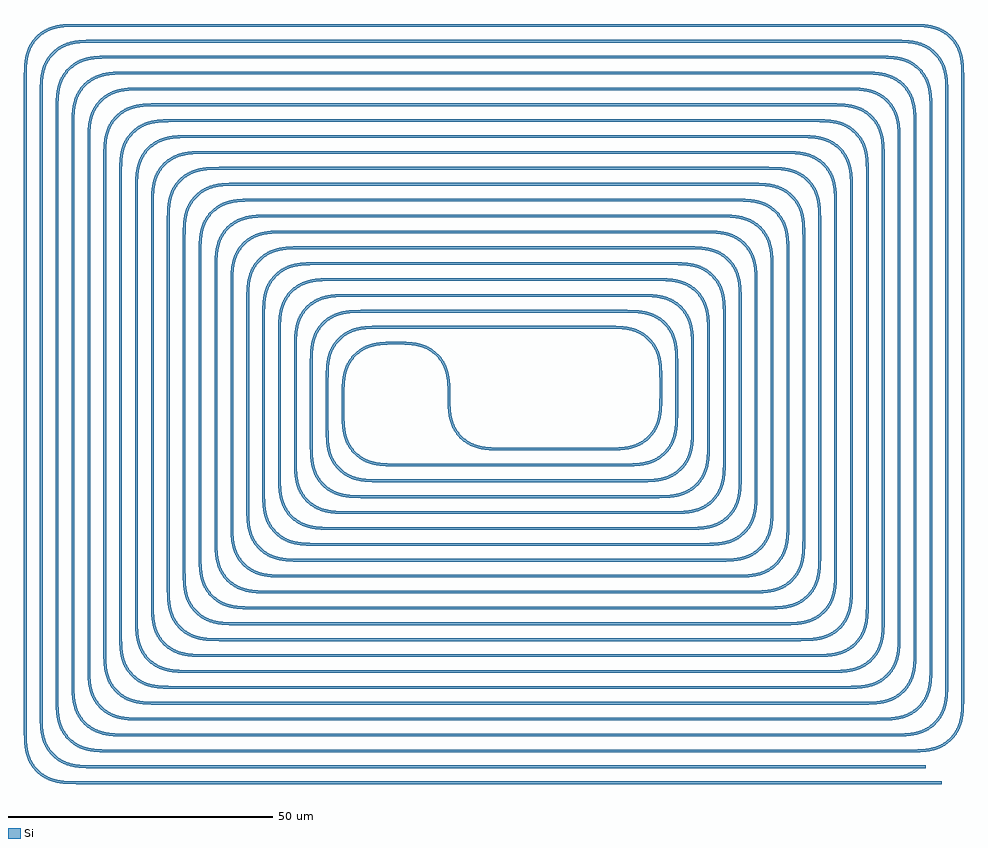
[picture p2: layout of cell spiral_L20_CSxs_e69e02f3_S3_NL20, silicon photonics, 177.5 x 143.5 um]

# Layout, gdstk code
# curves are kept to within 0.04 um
from math import pi, radians
import gdstk
lib = gdstk.Library(unit=1e-6, precision=1e-09)
def R(c, l, rs):  # rectangles x0, y0, x1, y1
    for r in rs: c.add(gdstk.rectangle(r[:2], r[2:], *l))
def P(c, l, *ps):  # polygons
    for p in ps: c.add(gdstk.Polygon(p, *l))
Si = (1, 0)

bend_euler_gdsfactorypc_ = lib.new_cell('bend_euler_gdsfactorypc_05052b0b')
P(bend_euler_gdsfactorypc_, Si, [(0,-0.25),(0,0.25),(1.655,0.269),(2.881,0.353),(3.952,0.52),(4.99,0.806),(5.731,1.113),(6.431,1.505),(7.575,2.425),(8.495,3.569),(8.887,4.269),(9.194,5.01),(9.48,6.048),(9.647,7.119),(9.731,8.345),(9.75,10),(10.25,10),(10.158,7.205),(10.023,6.224),(9.797,5.254),(9.457,4.312),(9.066,3.545),(8.5,2.715),(7.928,2.072),(7.285,1.5),(6.455,0.934),(5.688,0.543),(4.746,0.203),(3.776,-0.023),(2.795,-0.158)])

straight_gdsfactorypcom_ = lib.new_cell('straight_gdsfactorypcom_7742a60c')
R(straight_gdsfactorypcom_, Si, [(0,-0.25,49,0.25)])

c_straight_gdsfactorypcom_ = lib.new_cell('straight_gdsfactorypcom_810dd3e0')
R(c_straight_gdsfactorypcom_, Si, [(0,-0.25,3,0.25)])

c_straight_gdsfactorypcom__ = lib.new_cell('straight_gdsfactorypcom_ff565a06')
R(c_straight_gdsfactorypcom__, Si, [(0,-0.25,81,0.25)])

c_straight_gdsfactorypcom___ = lib.new_cell('straight_gdsfactorypcom_f2d06f42')
R(c_straight_gdsfactorypcom___, Si, [(0,-0.25,9,0.25)])

c_straight_gdsfactorypcom____ = lib.new_cell('straight_gdsfactorypcom_8e6efa9e')
R(c_straight_gdsfactorypcom____, Si, [(0,-0.25,103,0.25)])

c_straight_gdsfactorypcom_____ = lib.new_cell('straight_gdsfactorypcom_e7a7edb3')
R(c_straight_gdsfactorypcom_____, Si, [(0,-0.25,43,0.25)])

c_straight_gdsfactorypcom______ = lib.new_cell('straight_gdsfactorypcom_12cde3fc')
R(c_straight_gdsfactorypcom______, Si, [(0,-0.25,15,0.25)])

c_straight_gdsfactorypcom_______ = lib.new_cell('straight_gdsfactorypcom_5de53310')
R(c_straight_gdsfactorypcom_______, Si, [(0,-0.25,121,0.25)])

c_straight_gdsfactorypcom________ = lib.new_cell('straight_gdsfactorypcom_675b48e5')
R(c_straight_gdsfactorypcom________, Si, [(0,-0.25,55,0.25)])

c_straight_gdsfactorypcom_________ = lib.new_cell('straight_gdsfactorypcom_25d51cbc')
R(c_straight_gdsfactorypcom_________, Si, [(0,-0.25,87,0.25)])

c_straight_gdsfactorypcom__________ = lib.new_cell('straight_gdsfactorypcom_ed1046bc')
R(c_straight_gdsfactorypcom__________, Si, [(0,-0.25,21,0.25)])

c_straight_gdsfactorypcom___________ = lib.new_cell('straight_gdsfactorypcom_e6c4207f')
R(c_straight_gdsfactorypcom___________, Si, [(0,-0.25,127,0.25)])

c_straight_gdsfactorypcom____________ = lib.new_cell('straight_gdsfactorypcom_468df3bd')
R(c_straight_gdsfactorypcom____________, Si, [(0,-0.25,61,0.25)])

c_straight_gdsfactorypcom_____________ = lib.new_cell('straight_gdsfactorypcom_8b22fe13')
R(c_straight_gdsfactorypcom_____________, Si, [(0,-0.25,93,0.25)])

c_straight_gdsfactorypcom______________ = lib.new_cell('straight_gdsfactorypcom_cbe15374')
R(c_straight_gdsfactorypcom______________, Si, [(0,-0.25,27,0.25)])

c_straight_gdsfactorypcom_______________ = lib.new_cell('straight_gdsfactorypcom_1436a6a2')
R(c_straight_gdsfactorypcom_______________, Si, [(0,-0.25,69,0.25)])

c_straight_gdsfactorypcom________________ = lib.new_cell('straight_gdsfactorypcom_10ad8e4b')
R(c_straight_gdsfactorypcom________________, Si, [(0,-0.25,67,0.25)])

c_straight_gdsfactorypcom_________________ = lib.new_cell('straight_gdsfactorypcom_5092afc9')
R(c_straight_gdsfactorypcom_________________, Si, [(0,-0.25,33,0.25)])

c_straight_gdsfactorypcom__________________ = lib.new_cell('straight_gdsfactorypcom_41974ffe')
R(c_straight_gdsfactorypcom__________________, Si, [(0,-0.25,73,0.25)])

c_straight_gdsfactorypcom___________________ = lib.new_cell('straight_gdsfactorypcom_0e890049')
R(c_straight_gdsfactorypcom___________________, Si, [(0,-0.25,57,0.25)])

c_straight_gdsfactorypcom____________________ = lib.new_cell('straight_gdsfactorypcom_b7f60710')
R(c_straight_gdsfactorypcom____________________, Si, [(0,-0.25,39,0.25)])

c_straight_gdsfactorypcom_____________________ = lib.new_cell('straight_gdsfactorypcom_4967e9d2')
R(c_straight_gdsfactorypcom_____________________, Si, [(0,-0.25,85,0.25)])

c_straight_gdsfactorypcom______________________ = lib.new_cell('straight_gdsfactorypcom_299aea8f')
R(c_straight_gdsfactorypcom______________________, Si, [(0,-0.25,45,0.25)])

c_straight_gdsfactorypcom_______________________ = lib.new_cell('straight_gdsfactorypcom_4ed40b5f')
R(c_straight_gdsfactorypcom_______________________, Si, [(0,-0.25,79,0.25)])

c_straight_gdsfactorypcom________________________ = lib.new_cell('straight_gdsfactorypcom_9c40e646')
R(c_straight_gdsfactorypcom________________________, Si, [(0,-0.25,75,0.25)])

c_straight_gdsfactorypcom_________________________ = lib.new_cell('straight_gdsfactorypcom_aed9c2f7')
R(c_straight_gdsfactorypcom_________________________, Si, [(0,-0.25,51,0.25)])

c_straight_gdsfactorypcom__________________________ = lib.new_cell('straight_gdsfactorypcom_e5e9830e')
R(c_straight_gdsfactorypcom__________________________, Si, [(0,-0.25,91,0.25)])

c_straight_gdsfactorypcom___________________________ = lib.new_cell('straight_gdsfactorypcom_aff026a9')
R(c_straight_gdsfactorypcom___________________________, Si, [(0,-0.25,109,0.25)])

c_straight_gdsfactorypcom____________________________ = lib.new_cell('straight_gdsfactorypcom_99c8c19b')
R(c_straight_gdsfactorypcom____________________________, Si, [(0,-0.25,97,0.25)])

c_straight_gdsfactorypcom_____________________________ = lib.new_cell('straight_gdsfactorypcom_596e11af')
R(c_straight_gdsfactorypcom_____________________________, Si, [(0,-0.25,115,0.25)])

c_straight_gdsfactorypcom______________________________ = lib.new_cell('straight_gdsfactorypcom_31079ab4')
R(c_straight_gdsfactorypcom______________________________, Si, [(0,-0.25,63,0.25)])

c_straight_gdsfactorypcom_______________________________ = lib.new_cell('straight_gdsfactorypcom_eef064f1')
R(c_straight_gdsfactorypcom_______________________________, Si, [(0,-0.25,117,0.25)])

c_straight_gdsfactorypcom________________________________ = lib.new_cell('straight_gdsfactorypcom_58a328d0')
R(c_straight_gdsfactorypcom________________________________, Si, [(0,-0.25,133,0.25)])

c_straight_gdsfactorypcom_________________________________ = lib.new_cell('straight_gdsfactorypcom_43c6ed80')
R(c_straight_gdsfactorypcom_________________________________, Si, [(0,-0.25,99,0.25)])

c_straight_gdsfactorypcom__________________________________ = lib.new_cell('straight_gdsfactorypcom_0110c8b2')
R(c_straight_gdsfactorypcom__________________________________, Si, [(0,-0.25,139,0.25)])

c_straight_gdsfactorypcom___________________________________ = lib.new_cell('straight_gdsfactorypcom_123c1e2d')
R(c_straight_gdsfactorypcom___________________________________, Si, [(0,-0.25,105,0.25)])

c_straight_gdsfactorypcom____________________________________ = lib.new_cell('straight_gdsfactorypcom_24b46a04')
R(c_straight_gdsfactorypcom____________________________________, Si, [(0,-0.25,145,0.25)])

c_straight_gdsfactorypcom_____________________________________ = lib.new_cell('straight_gdsfactorypcom_7fd48e5d')
R(c_straight_gdsfactorypcom_____________________________________, Si, [(0,-0.25,111,0.25)])

c_straight_gdsfactorypcom______________________________________ = lib.new_cell('straight_gdsfactorypcom_adcbddb2')
R(c_straight_gdsfactorypcom______________________________________, Si, [(0,-0.25,151,0.25)])

c_straight_gdsfactorypcom_______________________________________ = lib.new_cell('straight_gdsfactorypcom_58bf2bef')
R(c_straight_gdsfactorypcom_______________________________________, Si, [(0,-0.25,157,0.25)])

c_straight_gdsfactorypcom________________________________________ = lib.new_cell('straight_gdsfactorypcom_8c1743a2')
R(c_straight_gdsfactorypcom________________________________________, Si, [(0,-0.25,123,0.25)])

c_straight_gdsfactorypcom_________________________________________ = lib.new_cell('straight_gdsfactorypcom_35774081')
R(c_straight_gdsfactorypcom_________________________________________, Si, [(0,-0.25,163,0.25)])

c_straight_gdsfactorypcom__________________________________________ = lib.new_cell('straight_gdsfactorypcom_7f5722a8')
R(c_straight_gdsfactorypcom__________________________________________, Si, [(0,-0.25,20,0.25)])

spiral_l20_csxs_e69e02f3 = lib.new_cell('spiral_L20_CSxs_e69e02f3_S3_NL20')
spiral_l20_csxs_e69e02f3.add(gdstk.Reference(bend_euler_gdsfactorypc_, (0,0), rotation=pi, x_reflection=True))
spiral_l20_csxs_e69e02f3.add(gdstk.Reference(straight_gdsfactorypcom_, (23,26), rotation=pi))
spiral_l20_csxs_e69e02f3.add(gdstk.Reference(c_straight_gdsfactorypcom_, (-30,10), rotation=3*pi/2))
spiral_l20_csxs_e69e02f3.add(gdstk.Reference(c_straight_gdsfactorypcom__, (-69,49), rotation=3*pi/2))
spiral_l20_csxs_e69e02f3.add(gdstk.Reference(c_straight_gdsfactorypcom___, (33,7), rotation=pi/2))
spiral_l20_csxs_e69e02f3.add(gdstk.Reference(bend_euler_gdsfactorypc_, (20,0)))
spiral_l20_csxs_e69e02f3.add(gdstk.Reference(c_straight_gdsfactorypcom____, (50,53), rotation=pi))
spiral_l20_csxs_e69e02f3.add(gdstk.Reference(c_straight_gdsfactorypcom_____, (-20,-3)))
spiral_l20_csxs_e69e02f3.add(gdstk.Reference(c_straight_gdsfactorypcom__, (69,-29), rotation=pi/2))
spiral_l20_csxs_e69e02f3.add(gdstk.Reference(c_straight_gdsfactorypcom___, (-33,13), rotation=3*pi/2))
spiral_l20_csxs_e69e02f3.add(gdstk.Reference(c_straight_gdsfactorypcom_____, (20,23), rotation=pi))
spiral_l20_csxs_e69e02f3.add(gdstk.Reference(c_straight_gdsfactorypcom______, (-36,16), rotation=3*pi/2))
spiral_l20_csxs_e69e02f3.add(gdstk.Reference(c_straight_gdsfactorypcom_______, (59,62), rotation=pi))
spiral_l20_csxs_e69e02f3.add(gdstk.Reference(c_straight_gdsfactorypcom________, (-26,-9)))
spiral_l20_csxs_e69e02f3.add(gdstk.Reference(straight_gdsfactorypcom_, (-23,-6)))
spiral_l20_csxs_e69e02f3.add(gdstk.Reference(c_straight_gdsfactorypcom_______, (-59,-42)))
spiral_l20_csxs_e69e02f3.add(gdstk.Reference(c_straight_gdsfactorypcom________, (26,29), rotation=pi))
spiral_l20_csxs_e69e02f3.add(gdstk.Reference(c_straight_gdsfactorypcom______, (36,4), rotation=pi/2))
spiral_l20_csxs_e69e02f3.add(gdstk.Reference(c_straight_gdsfactorypcom_________, (-72,52), rotation=3*pi/2))
spiral_l20_csxs_e69e02f3.add(gdstk.Reference(c_straight_gdsfactorypcom__________, (39,1), rotation=pi/2))
spiral_l20_csxs_e69e02f3.add(gdstk.Reference(c_straight_gdsfactorypcom___________, (-62,-45)))
spiral_l20_csxs_e69e02f3.add(gdstk.Reference(c_straight_gdsfactorypcom____________, (29,32), rotation=pi))
spiral_l20_csxs_e69e02f3.add(gdstk.Reference(c_straight_gdsfactorypcom_________, (72,-32), rotation=pi/2))
spiral_l20_csxs_e69e02f3.add(gdstk.Reference(c_straight_gdsfactorypcom__________, (-39,19), rotation=3*pi/2))
spiral_l20_csxs_e69e02f3.add(gdstk.Reference(c_straight_gdsfactorypcom_____________, (75,-35), rotation=pi/2))
spiral_l20_csxs_e69e02f3.add(gdstk.Reference(c_straight_gdsfactorypcom______________, (-42,22), rotation=3*pi/2))
spiral_l20_csxs_e69e02f3.add(gdstk.Reference(c_straight_gdsfactorypcom_______________, (-63,43), rotation=3*pi/2))
spiral_l20_csxs_e69e02f3.add(gdstk.Reference(c_straight_gdsfactorypcom___________, (62,65), rotation=pi))
spiral_l20_csxs_e69e02f3.add(gdstk.Reference(c_straight_gdsfactorypcom____________, (-29,-12)))
spiral_l20_csxs_e69e02f3.add(gdstk.Reference(c_straight_gdsfactorypcom________________, (-32,-15)))
spiral_l20_csxs_e69e02f3.add(gdstk.Reference(c_straight_gdsfactorypcom_____________, (-75,55), rotation=3*pi/2))
spiral_l20_csxs_e69e02f3.add(gdstk.Reference(c_straight_gdsfactorypcom______________, (42,-2), rotation=pi/2))
spiral_l20_csxs_e69e02f3.add(gdstk.Reference(c_straight_gdsfactorypcom_______________, (63,-23), rotation=pi/2))
spiral_l20_csxs_e69e02f3.add(gdstk.Reference(c_straight_gdsfactorypcom_________________, (45,-5), rotation=pi/2))
spiral_l20_csxs_e69e02f3.add(gdstk.Reference(c_straight_gdsfactorypcom________________, (32,35), rotation=pi))
spiral_l20_csxs_e69e02f3.add(gdstk.Reference(c_straight_gdsfactorypcom__________________, (35,38), rotation=pi))
spiral_l20_csxs_e69e02f3.add(gdstk.Reference(c_straight_gdsfactorypcom_________________, (-45,25), rotation=3*pi/2))
spiral_l20_csxs_e69e02f3.add(gdstk.Reference(c_straight_gdsfactorypcom___________________, (57,-17), rotation=pi/2))
spiral_l20_csxs_e69e02f3.add(gdstk.Reference(c_straight_gdsfactorypcom____________________, (-48,28), rotation=3*pi/2))
spiral_l20_csxs_e69e02f3.add(gdstk.Reference(c_straight_gdsfactorypcom__________________, (-35,-18)))
spiral_l20_csxs_e69e02f3.add(gdstk.Reference(c_straight_gdsfactorypcom_____________________, (41,44), rotation=pi))
spiral_l20_csxs_e69e02f3.add(gdstk.Reference(c_straight_gdsfactorypcom______________________, (-51,31), rotation=3*pi/2))
spiral_l20_csxs_e69e02f3.add(gdstk.Reference(c_straight_gdsfactorypcom_______________________, (-38,-21)))
spiral_l20_csxs_e69e02f3.add(gdstk.Reference(c_straight_gdsfactorypcom___________________, (-57,37), rotation=3*pi/2))
spiral_l20_csxs_e69e02f3.add(gdstk.Reference(c_straight_gdsfactorypcom____________________, (48,-8), rotation=pi/2))
spiral_l20_csxs_e69e02f3.add(gdstk.Reference(c_straight_gdsfactorypcom_____________________, (-41,-24)))
spiral_l20_csxs_e69e02f3.add(gdstk.Reference(c_straight_gdsfactorypcom_______________________, (38,41), rotation=pi))
spiral_l20_csxs_e69e02f3.add(gdstk.Reference(c_straight_gdsfactorypcom______________________, (51,-11), rotation=pi/2))
spiral_l20_csxs_e69e02f3.add(gdstk.Reference(c_straight_gdsfactorypcom________________________, (66,-26), rotation=pi/2))
spiral_l20_csxs_e69e02f3.add(gdstk.Reference(c_straight_gdsfactorypcom_________________________, (-54,34), rotation=3*pi/2))
spiral_l20_csxs_e69e02f3.add(gdstk.Reference(c_straight_gdsfactorypcom__________________________, (-44,-27)))
spiral_l20_csxs_e69e02f3.add(gdstk.Reference(c_straight_gdsfactorypcom________________________, (-66,46), rotation=3*pi/2))
spiral_l20_csxs_e69e02f3.add(gdstk.Reference(c_straight_gdsfactorypcom_________________________, (54,-14), rotation=pi/2))
spiral_l20_csxs_e69e02f3.add(gdstk.Reference(c_straight_gdsfactorypcom__________________________, (44,47), rotation=pi))
spiral_l20_csxs_e69e02f3.add(gdstk.Reference(c_straight_gdsfactorypcom___________________________, (-53,-36)))
spiral_l20_csxs_e69e02f3.add(gdstk.Reference(c_straight_gdsfactorypcom____________________________, (47,50), rotation=pi))
spiral_l20_csxs_e69e02f3.add(gdstk.Reference(c_straight_gdsfactorypcom_____________________________, (56,59), rotation=pi))
spiral_l20_csxs_e69e02f3.add(gdstk.Reference(c_straight_gdsfactorypcom______________________________, (-60,40), rotation=3*pi/2))
spiral_l20_csxs_e69e02f3.add(gdstk.Reference(c_straight_gdsfactorypcom___________________________, (53,56), rotation=pi))
spiral_l20_csxs_e69e02f3.add(gdstk.Reference(c_straight_gdsfactorypcom____________________________, (-47,-30)))
spiral_l20_csxs_e69e02f3.add(gdstk.Reference(c_straight_gdsfactorypcom_______________________________, (87,-47), rotation=pi/2))
spiral_l20_csxs_e69e02f3.add(gdstk.Reference(c_straight_gdsfactorypcom____, (-50,-33)))
spiral_l20_csxs_e69e02f3.add(gdstk.Reference(c_straight_gdsfactorypcom_____________________________, (-56,-39)))
spiral_l20_csxs_e69e02f3.add(gdstk.Reference(c_straight_gdsfactorypcom______________________________, (60,-20), rotation=pi/2))
spiral_l20_csxs_e69e02f3.add(gdstk.Reference(c_straight_gdsfactorypcom________________________________, (65,68), rotation=pi))
spiral_l20_csxs_e69e02f3.add(gdstk.Reference(c_straight_gdsfactorypcom_________________________________, (-78,58), rotation=3*pi/2))
spiral_l20_csxs_e69e02f3.add(gdstk.Reference(c_straight_gdsfactorypcom________________________________, (-65,-48)))
spiral_l20_csxs_e69e02f3.add(gdstk.Reference(c_straight_gdsfactorypcom__________________________________, (-68,-51)))
spiral_l20_csxs_e69e02f3.add(gdstk.Reference(c_straight_gdsfactorypcom_________________________________, (78,-38), rotation=pi/2))
spiral_l20_csxs_e69e02f3.add(gdstk.Reference(c_straight_gdsfactorypcom___________________________________, (81,-41), rotation=pi/2))
spiral_l20_csxs_e69e02f3.add(gdstk.Reference(c_straight_gdsfactorypcom__________________________________, (68,71), rotation=pi))
spiral_l20_csxs_e69e02f3.add(gdstk.Reference(c_straight_gdsfactorypcom____________________________________, (71,74), rotation=pi))
spiral_l20_csxs_e69e02f3.add(gdstk.Reference(c_straight_gdsfactorypcom___________________________________, (-81,61), rotation=3*pi/2))
spiral_l20_csxs_e69e02f3.add(gdstk.Reference(c_straight_gdsfactorypcom_____________________________________, (-84,64), rotation=3*pi/2))
spiral_l20_csxs_e69e02f3.add(gdstk.Reference(c_straight_gdsfactorypcom____________________________________, (-71,-54)))
spiral_l20_csxs_e69e02f3.add(gdstk.Reference(c_straight_gdsfactorypcom______________________________________, (-74,-57)))
spiral_l20_csxs_e69e02f3.add(gdstk.Reference(c_straight_gdsfactorypcom_____________________________________, (84,-44), rotation=pi/2))
spiral_l20_csxs_e69e02f3.add(gdstk.Reference(c_straight_gdsfactorypcom______________________________________, (74,77), rotation=pi))
spiral_l20_csxs_e69e02f3.add(gdstk.Reference(c_straight_gdsfactorypcom_______________________________________, (77,80), rotation=pi))
spiral_l20_csxs_e69e02f3.add(gdstk.Reference(c_straight_gdsfactorypcom_______________________________, (-87,67), rotation=3*pi/2))
spiral_l20_csxs_e69e02f3.add(gdstk.Reference(c_straight_gdsfactorypcom________________________________________, (-90,70), rotation=3*pi/2))
spiral_l20_csxs_e69e02f3.add(gdstk.Reference(c_straight_gdsfactorypcom_______________________________________, (-77,-60)))
spiral_l20_csxs_e69e02f3.add(gdstk.Reference(c_straight_gdsfactorypcom_________________________________________, (-80,-63)))
spiral_l20_csxs_e69e02f3.add(gdstk.Reference(bend_euler_gdsfactorypc_, (30,13), rotation=pi/2))
spiral_l20_csxs_e69e02f3.add(gdstk.Reference(bend_euler_gdsfactorypc_, (33,16), rotation=pi/2))
spiral_l20_csxs_e69e02f3.add(gdstk.Reference(bend_euler_gdsfactorypc_, (36,19), rotation=pi/2))
spiral_l20_csxs_e69e02f3.add(gdstk.Reference(bend_euler_gdsfactorypc_, (39,22), rotation=pi/2))
spiral_l20_csxs_e69e02f3.add(gdstk.Reference(bend_euler_gdsfactorypc_, (42,25), rotation=pi/2))
spiral_l20_csxs_e69e02f3.add(gdstk.Reference(bend_euler_gdsfactorypc_, (45,28), rotation=pi/2))
spiral_l20_csxs_e69e02f3.add(gdstk.Reference(bend_euler_gdsfactorypc_, (48,31), rotation=pi/2))
spiral_l20_csxs_e69e02f3.add(gdstk.Reference(bend_euler_gdsfactorypc_, (51,34), rotation=pi/2))
spiral_l20_csxs_e69e02f3.add(gdstk.Reference(bend_euler_gdsfactorypc_, (54,37), rotation=pi/2))
spiral_l20_csxs_e69e02f3.add(gdstk.Reference(bend_euler_gdsfactorypc_, (57,40), rotation=pi/2))
spiral_l20_csxs_e69e02f3.add(gdstk.Reference(bend_euler_gdsfactorypc_, (60,43), rotation=pi/2))
spiral_l20_csxs_e69e02f3.add(gdstk.Reference(bend_euler_gdsfactorypc_, (63,46), rotation=pi/2))
spiral_l20_csxs_e69e02f3.add(gdstk.Reference(bend_euler_gdsfactorypc_, (66,49), rotation=pi/2))
spiral_l20_csxs_e69e02f3.add(gdstk.Reference(bend_euler_gdsfactorypc_, (69,52), rotation=pi/2))
spiral_l20_csxs_e69e02f3.add(gdstk.Reference(bend_euler_gdsfactorypc_, (72,55), rotation=pi/2))
spiral_l20_csxs_e69e02f3.add(gdstk.Reference(bend_euler_gdsfactorypc_, (75,58), rotation=pi/2))
spiral_l20_csxs_e69e02f3.add(gdstk.Reference(bend_euler_gdsfactorypc_, (78,61), rotation=pi/2))
spiral_l20_csxs_e69e02f3.add(gdstk.Reference(bend_euler_gdsfactorypc_, (81,64), rotation=pi/2))
spiral_l20_csxs_e69e02f3.add(gdstk.Reference(bend_euler_gdsfactorypc_, (84,67), rotation=pi/2))
spiral_l20_csxs_e69e02f3.add(gdstk.Reference(bend_euler_gdsfactorypc_, (87,70), rotation=pi/2))
spiral_l20_csxs_e69e02f3.add(gdstk.Reference(c_straight_gdsfactorypcom_, (30,10), rotation=pi/2))
spiral_l20_csxs_e69e02f3.add(gdstk.Reference(bend_euler_gdsfactorypc_, (-10,10), rotation=pi/2))
spiral_l20_csxs_e69e02f3.add(gdstk.Reference(bend_euler_gdsfactorypc_, (-26,26), rotation=pi))
spiral_l20_csxs_e69e02f3.add(gdstk.Reference(bend_euler_gdsfactorypc_, (-29,29), rotation=pi))
spiral_l20_csxs_e69e02f3.add(gdstk.Reference(bend_euler_gdsfactorypc_, (-32,32), rotation=pi))
spiral_l20_csxs_e69e02f3.add(gdstk.Reference(bend_euler_gdsfactorypc_, (-35,35), rotation=pi))
spiral_l20_csxs_e69e02f3.add(gdstk.Reference(bend_euler_gdsfactorypc_, (-38,38), rotation=pi))
spiral_l20_csxs_e69e02f3.add(gdstk.Reference(bend_euler_gdsfactorypc_, (-41,41), rotation=pi))
spiral_l20_csxs_e69e02f3.add(gdstk.Reference(bend_euler_gdsfactorypc_, (-44,44), rotation=pi))
spiral_l20_csxs_e69e02f3.add(gdstk.Reference(bend_euler_gdsfactorypc_, (-47,47), rotation=pi))
spiral_l20_csxs_e69e02f3.add(gdstk.Reference(bend_euler_gdsfactorypc_, (-50,50), rotation=pi))
spiral_l20_csxs_e69e02f3.add(gdstk.Reference(bend_euler_gdsfactorypc_, (-53,53), rotation=pi))
spiral_l20_csxs_e69e02f3.add(gdstk.Reference(bend_euler_gdsfactorypc_, (-56,56), rotation=pi))
spiral_l20_csxs_e69e02f3.add(gdstk.Reference(bend_euler_gdsfactorypc_, (-59,59), rotation=pi))
spiral_l20_csxs_e69e02f3.add(gdstk.Reference(bend_euler_gdsfactorypc_, (-62,62), rotation=pi))
spiral_l20_csxs_e69e02f3.add(gdstk.Reference(bend_euler_gdsfactorypc_, (-65,65), rotation=pi))
spiral_l20_csxs_e69e02f3.add(gdstk.Reference(bend_euler_gdsfactorypc_, (-68,68), rotation=pi))
spiral_l20_csxs_e69e02f3.add(gdstk.Reference(bend_euler_gdsfactorypc_, (-71,71), rotation=pi))
spiral_l20_csxs_e69e02f3.add(gdstk.Reference(bend_euler_gdsfactorypc_, (-74,74), rotation=pi))
spiral_l20_csxs_e69e02f3.add(gdstk.Reference(bend_euler_gdsfactorypc_, (-77,77), rotation=pi))
spiral_l20_csxs_e69e02f3.add(gdstk.Reference(bend_euler_gdsfactorypc_, (-80,80), rotation=pi))
spiral_l20_csxs_e69e02f3.add(gdstk.Reference(bend_euler_gdsfactorypc_, (-20,20), rotation=pi))
spiral_l20_csxs_e69e02f3.add(gdstk.Reference(bend_euler_gdsfactorypc_, (-23,23), rotation=pi))
spiral_l20_csxs_e69e02f3.add(gdstk.Reference(bend_euler_gdsfactorypc_, (-90,-53), rotation=3*pi/2))
spiral_l20_csxs_e69e02f3.add(gdstk.Reference(bend_euler_gdsfactorypc_, (-87,-50), rotation=3*pi/2))
spiral_l20_csxs_e69e02f3.add(gdstk.Reference(bend_euler_gdsfactorypc_, (-84,-47), rotation=3*pi/2))
spiral_l20_csxs_e69e02f3.add(gdstk.Reference(bend_euler_gdsfactorypc_, (-81,-44), rotation=3*pi/2))
spiral_l20_csxs_e69e02f3.add(gdstk.Reference(bend_euler_gdsfactorypc_, (-78,-41), rotation=3*pi/2))
spiral_l20_csxs_e69e02f3.add(gdstk.Reference(bend_euler_gdsfactorypc_, (-75,-38), rotation=3*pi/2))
spiral_l20_csxs_e69e02f3.add(gdstk.Reference(bend_euler_gdsfactorypc_, (-72,-35), rotation=3*pi/2))
spiral_l20_csxs_e69e02f3.add(gdstk.Reference(bend_euler_gdsfactorypc_, (-69,-32), rotation=3*pi/2))
spiral_l20_csxs_e69e02f3.add(gdstk.Reference(bend_euler_gdsfactorypc_, (-66,-29), rotation=3*pi/2))
spiral_l20_csxs_e69e02f3.add(gdstk.Reference(bend_euler_gdsfactorypc_, (-63,-26), rotation=3*pi/2))
spiral_l20_csxs_e69e02f3.add(gdstk.Reference(bend_euler_gdsfactorypc_, (-60,-23), rotation=3*pi/2))
spiral_l20_csxs_e69e02f3.add(gdstk.Reference(bend_euler_gdsfactorypc_, (-57,-20), rotation=3*pi/2))
spiral_l20_csxs_e69e02f3.add(gdstk.Reference(bend_euler_gdsfactorypc_, (-54,-17), rotation=3*pi/2))
spiral_l20_csxs_e69e02f3.add(gdstk.Reference(bend_euler_gdsfactorypc_, (-51,-14), rotation=3*pi/2))
spiral_l20_csxs_e69e02f3.add(gdstk.Reference(bend_euler_gdsfactorypc_, (-48,-11), rotation=3*pi/2))
spiral_l20_csxs_e69e02f3.add(gdstk.Reference(bend_euler_gdsfactorypc_, (-45,-8), rotation=3*pi/2))
spiral_l20_csxs_e69e02f3.add(gdstk.Reference(bend_euler_gdsfactorypc_, (-42,-5), rotation=3*pi/2))
spiral_l20_csxs_e69e02f3.add(gdstk.Reference(bend_euler_gdsfactorypc_, (-39,-2), rotation=3*pi/2))
spiral_l20_csxs_e69e02f3.add(gdstk.Reference(bend_euler_gdsfactorypc_, (-36,1), rotation=3*pi/2))
spiral_l20_csxs_e69e02f3.add(gdstk.Reference(bend_euler_gdsfactorypc_, (-33,4), rotation=3*pi/2))
spiral_l20_csxs_e69e02f3.add(gdstk.Reference(bend_euler_gdsfactorypc_, (-30,7), rotation=3*pi/2))
spiral_l20_csxs_e69e02f3.add(gdstk.Reference(bend_euler_gdsfactorypc_, (50,-30)))
spiral_l20_csxs_e69e02f3.add(gdstk.Reference(bend_euler_gdsfactorypc_, (47,-27)))
spiral_l20_csxs_e69e02f3.add(gdstk.Reference(bend_euler_gdsfactorypc_, (44,-24)))
spiral_l20_csxs_e69e02f3.add(gdstk.Reference(bend_euler_gdsfactorypc_, (41,-21)))
spiral_l20_csxs_e69e02f3.add(gdstk.Reference(bend_euler_gdsfactorypc_, (38,-18)))
spiral_l20_csxs_e69e02f3.add(gdstk.Reference(bend_euler_gdsfactorypc_, (35,-15)))
spiral_l20_csxs_e69e02f3.add(gdstk.Reference(bend_euler_gdsfactorypc_, (32,-12)))
spiral_l20_csxs_e69e02f3.add(gdstk.Reference(bend_euler_gdsfactorypc_, (29,-9)))
spiral_l20_csxs_e69e02f3.add(gdstk.Reference(bend_euler_gdsfactorypc_, (26,-6)))
spiral_l20_csxs_e69e02f3.add(gdstk.Reference(bend_euler_gdsfactorypc_, (23,-3)))
spiral_l20_csxs_e69e02f3.add(gdstk.Reference(bend_euler_gdsfactorypc_, (77,-57)))
spiral_l20_csxs_e69e02f3.add(gdstk.Reference(bend_euler_gdsfactorypc_, (74,-54)))
spiral_l20_csxs_e69e02f3.add(gdstk.Reference(bend_euler_gdsfactorypc_, (71,-51)))
spiral_l20_csxs_e69e02f3.add(gdstk.Reference(bend_euler_gdsfactorypc_, (68,-48)))
spiral_l20_csxs_e69e02f3.add(gdstk.Reference(bend_euler_gdsfactorypc_, (65,-45)))
spiral_l20_csxs_e69e02f3.add(gdstk.Reference(bend_euler_gdsfactorypc_, (62,-42)))
spiral_l20_csxs_e69e02f3.add(gdstk.Reference(bend_euler_gdsfactorypc_, (59,-39)))
spiral_l20_csxs_e69e02f3.add(gdstk.Reference(bend_euler_gdsfactorypc_, (56,-36)))
spiral_l20_csxs_e69e02f3.add(gdstk.Reference(bend_euler_gdsfactorypc_, (53,-33)))
spiral_l20_csxs_e69e02f3.add(gdstk.Reference(c_straight_gdsfactorypcom__________________________________________, (0,0)))

lib.write_gds('spiral_L20_CSxs_e69e02f3_S3_NL20.gds')
